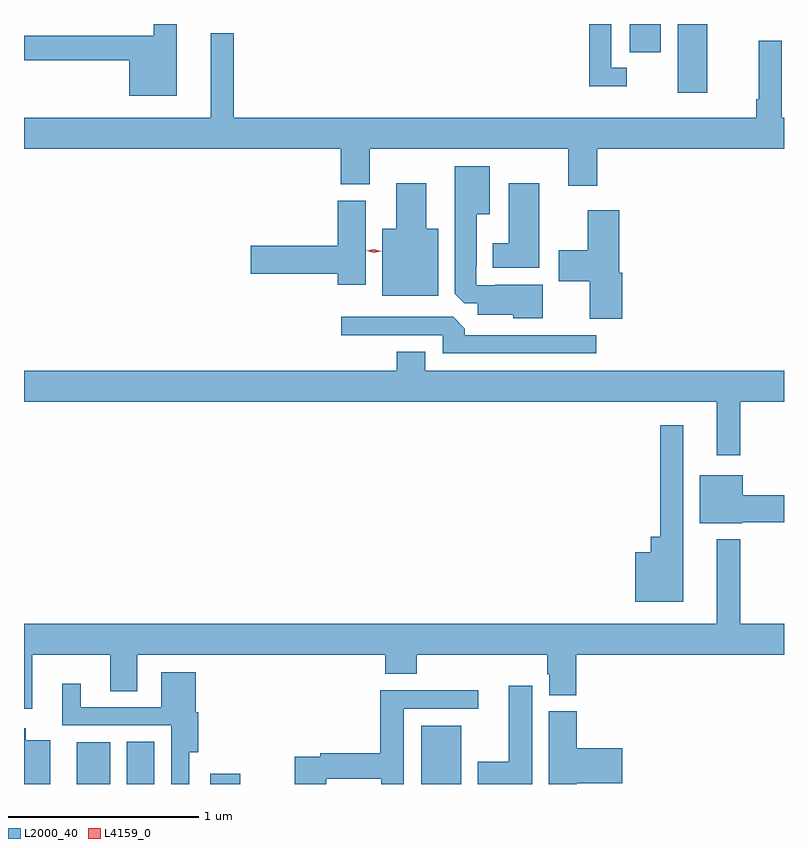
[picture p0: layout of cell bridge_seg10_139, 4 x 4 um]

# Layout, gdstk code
import gdstk
lib = gdstk.Library(unit=1e-6, precision=1e-09)
def R(c, l, rs):  # rectangles x0, y0, x1, y1
    for r in rs: c.add(gdstk.rectangle(r[:2], r[2:], *l))
def P(c, l, *ps):  # polygons
    for p in ps: c.add(gdstk.Polygon(p, *l))
L2000_40 = (2000, 40)
L4159_0 = (4159, 0)

bridge_seg10_139 = lib.new_cell('bridge_seg10_139')
R(bridge_seg10_139, L2000_40, [(337.58,1296.973,337.756,1297.192), (337.844,1296.973,337.987,1297.196), (338.282,1296.973,338.44,1297.027), (339.392,1296.973,339.604,1297.279), (340.742,1300.611,340.897,1300.973), (340.49,1300.824,340.654,1300.973)])
P(bridge_seg10_139, L2000_40, [(340.474,1300.743),(340.392,1300.743),(340.392,1300.973),(340.276,1300.973),(340.276,1300.646),(340.474,1300.646)],
  [(338.107,1300.973),(337.986,1300.973),(337.986,1300.91),(337.302,1300.91),(337.302,1300.782),(337.856,1300.782),(337.856,1300.595),(338.107,1300.595)],
  [(340.319,1300.316),(341.302,1300.316),(341.302,1300.48),(341.291,1300.48),(341.291,1300.885),(341.17,1300.885),(341.17,1300.576),(341.155,1300.576),(341.155,1300.48),(338.407,1300.48),(338.407,1300.924),(338.285,1300.924),(338.285,1300.48),(337.302,1300.48),(337.302,1300.316),(338.969,1300.316),(338.969,1300.129),(339.121,1300.129),(339.121,1300.316),(340.166,1300.316),(340.166,1300.122),(340.319,1300.122)],
  [(340.033,1299.601),(339.781,1299.601),(339.781,1299.597),(339.681,1299.597),(339.681,1299.697),(339.685,1299.697),(339.685,1299.971),(339.754,1299.971),(339.754,1300.225),(339.569,1300.225),(339.569,1299.553),(339.618,1299.504),(339.689,1299.504),(339.689,1299.443),(339.876,1299.443),(339.876,1299.425),(340.033,1299.425)],
  [(339.481,1299.895),(339.418,1299.895),(339.418,1300.135),(339.26,1300.135),(339.26,1299.895),(339.188,1299.895),(339.188,1299.542),(339.481,1299.542)],
  [(340.015,1300.135),(339.854,1300.135),(339.854,1299.82),(339.77,1299.82),(339.77,1299.689),(340.015,1299.689)],
  [(339.1,1300.044),(338.954,1300.044),(338.954,1299.806),(338.496,1299.806),(338.496,1299.659),(338.954,1299.659),(338.954,1299.6),(339.1,1299.6)],
  [(340.451,1299.665),(340.436,1299.665),(340.436,1299.994),(340.268,1299.994),(340.268,1299.783),(340.116,1299.783),(340.116,1299.62),(340.28,1299.62),(340.28,1299.421),(340.451,1299.421)],
  [(340.315,1299.336),(339.623,1299.336),(339.623,1299.37),(339.561,1299.432),(338.973,1299.432),(338.973,1299.336),(339.507,1299.336),(339.507,1299.24),(340.315,1299.24)],
  [(341.071,1298.984),(341.302,1298.984),(341.302,1299.148),(339.415,1299.148),(339.415,1299.247),(339.263,1299.247),(339.263,1299.148),(337.302,1299.148),(337.302,1298.984),(340.949,1298.984),(340.949,1298.703),(341.071,1298.703)],
  [(340.771,1298.86),(340.65,1298.86),(340.65,1298.275),(340.601,1298.275),(340.601,1298.194),(340.52,1298.194),(340.52,1297.931),(340.771,1297.931)],
  [(341.082,1298.351),(341.302,1298.351),(341.302,1298.493),(341.086,1298.493),(341.086,1298.599),(340.859,1298.599),(340.859,1298.345),(341.082,1298.345)],
  [(337.345,1297.652),(337.757,1297.652),(337.757,1297.462),(337.897,1297.462),(337.897,1297.652),(339.203,1297.652),(339.203,1297.553),(339.368,1297.553),(339.368,1297.652),(340.055,1297.652),(340.055,1297.551),(340.067,1297.551),(340.067,1297.441),(340.208,1297.441),(340.208,1297.652),(341.302,1297.652),(341.302,1297.816),(341.071,1297.816),(341.071,1298.26),(340.949,1298.26),(340.949,1297.816),(337.302,1297.816),(337.302,1297.368),(337.345,1297.368)],
  [(338.172,1297.139),(338.219,1297.139),(338.219,1297.35),(338.206,1297.35),(338.206,1297.561),(338.024,1297.561),(338.024,1297.377),(337.6,1297.377),(337.6,1297.501),(337.502,1297.501),(337.502,1297.281),(338.076,1297.281),(338.076,1296.973),(338.172,1296.973)],
  [(339.976,1297.489),(339.854,1297.489),(339.854,1297.09),(339.689,1297.09),(339.689,1296.973),(339.976,1296.973)],
  [(338.892,1297),(339.181,1297),(339.181,1296.973),(339.301,1296.973),(339.301,1297.368),(339.694,1297.368),(339.694,1297.466),(339.176,1297.466),(339.176,1297.136),(338.86,1297.136),(338.86,1297.116),(338.726,1297.116),(338.726,1296.973),(338.892,1296.973)],
  [(340.211,1296.977),(340.45,1296.977),(340.45,1297.16),(340.211,1297.16),(340.211,1297.356),(340.064,1297.356),(340.064,1296.973),(340.211,1296.973)],
  [(337.441,1297.204),(337.312,1297.204),(337.312,1297.267),(337.302,1297.267),(337.302,1296.973),(337.441,1296.973)])
P(bridge_seg10_139, L4159_0, [(339.143,1299.768),(339.106,1299.779),(339.105,1299.779),(339.106,1299.779),(339.143,1299.788),(339.181,1299.778),(339.181,1299.778),(339.181,1299.777)])

lib.write_gds('bridge_seg10_139.gds')
